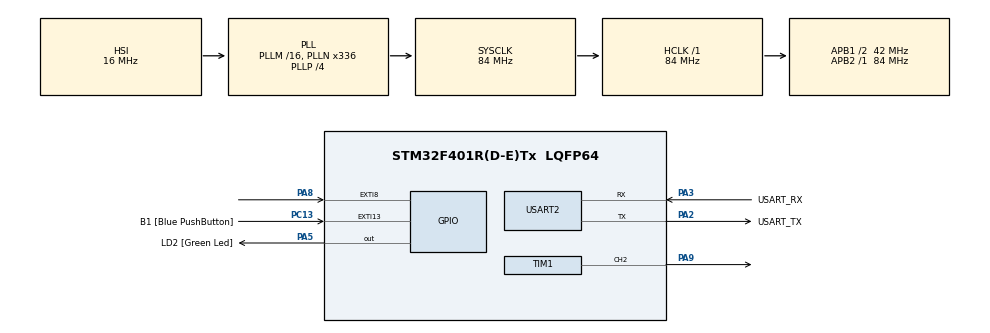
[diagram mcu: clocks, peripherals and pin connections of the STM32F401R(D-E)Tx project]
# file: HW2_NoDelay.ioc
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Mcu.Family=STM32F4
Mcu.Name=STM32F401R(D-E)Tx
Mcu.Package=LQFP64
NVIC.EXTI15_10_IRQn=true\:0\:0\:false\:false\:true\:true\:true\:true
NVIC.EXTI9_5_IRQn=true\:0\:0\:false\:false\:true\:true\:true\:true
NVIC.PriorityGroup=NVIC_PRIORITYGROUP_0
NVIC.TIM2_IRQn=true\:0\:0\:false\:false\:true\:true\:true\:true
PA13.GPIO_Label=TMS
PA13.Mode=Serial_Wire
PA13.Signal=SYS_JTMS-SWDIO
PA14.GPIO_Label=TCK
PA14.Mode=Serial_Wire
PA14.Signal=SYS_JTCK-SWCLK
PA2.GPIO_Label=USART_TX
PA2.GPIO_Mode=GPIO_MODE_AF_PP
PA2.GPIO_PuPd=GPIO_NOPULL
PA2.GPIO_Speed=GPIO_SPEED_FREQ_LOW
PA2.Mode=Asynchronous
PA2.Signal=USART2_TX
PA3.GPIO_Label=USART_RX
PA3.GPIO_Mode=GPIO_MODE_AF_PP
PA3.GPIO_PuPd=GPIO_NOPULL
PA3.GPIO_Speed=GPIO_SPEED_FREQ_LOW
PA3.Mode=Asynchronous
PA3.Signal=USART2_RX
PA5.GPIO_Label=LD2 [Green Led]
PA5.GPIO_Mode=GPIO_MODE_OUTPUT_PP
PA5.GPIO_PuPd=GPIO_NOPULL
PA5.GPIO_Speed=GPIO_SPEED_FREQ_LOW
PA5.Signal=GPIO_Output
PA8.Signal=GPXTI8
PA9.Signal=S_TIM1_CH2
PB3.GPIO_Label=SWO
PB3.Signal=SYS_JTDO-SWO
PC13-ANTI_TAMP.GPIO_Label=B1 [Blue PushButton]
PC13-ANTI_TAMP.GPIO_ModeDefaultEXTI=GPIO_MODE_IT_FALLING
PC13-ANTI_TAMP.GPIO_PuPd=GPIO_NOPULL
PC13-ANTI_TAMP.Signal=GPXTI13
PC14-OSC32_IN.Mode=LSE-External-Oscillator
PC14-OSC32_IN.Signal=RCC_OSC32_IN
PC15-OSC32_OUT.Mode=LSE-External-Oscillator
PC15-OSC32_OUT.Signal=RCC_OSC32_OUT
PH0\ -\ OSC_IN.Mode=HSE-External-Clock-Source
PH0\ -\ OSC_IN.Signal=RCC_OSC_IN
PH1\ -\ OSC_OUT.Mode=HSE-External-Clock-Source
PH1\ -\ OSC_OUT.Signal=RCC_OSC_OUT
ProjectManager.HeapSize=0x200
ProjectManager.StackSize=0x400
ProjectManager.TargetToolchain=STM32CubeIDE
RCC.48MHZClocksFreq_Value=48000000
RCC.AHBFreq_Value=84000000
RCC.APB1CLKDivider=RCC_HCLK_DIV2
RCC.APB1Freq_Value=42000000
RCC.APB1TimFreq_Value=84000000
RCC.APB2Freq_Value=84000000
RCC.APB2TimFreq_Value=84000000
RCC.CortexFreq_Value=84000000
RCC.HCLKFreq_Value=84000000
RCC.HSE_VALUE=8000000
RCC.HSI_VALUE=16000000
RCC.PLLN=336
RCC.PLLP=RCC_PLLP_DIV4
RCC.PLLQ=7
RCC.SYSCLKFreq_VALUE=84000000
RCC.SYSCLKSource=RCC_SYSCLKSOURCE_PLLCLK
RCC.VCOOutputFreq_Value=336000000
SH.S_TIM1_CH2.0=TIM1_CH2,PWM Generation2 CH2
TIM1.Channel-PWM\ Generation2\ CH2=TIM_CHANNEL_2
TIM1.Prescaler=100-1
TIM2.Period=150*8
TIM2.Prescaler=40000-1
TIM2.TIM_MasterOutputTrigger=TIM_TRGO_RESET
USART2.VirtualMode=VM_ASYNC
VP_TIM2_VS_ClockSourceINT.Mode=Internal
board=NUCLEO-F401RE

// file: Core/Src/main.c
/* USER CODE BEGIN Header */
/**
  ******************************************************************************
  * @file           : main.c
  * @brief          : Main program body
  ******************************************************************************
  * @attention
  *
  * Copyright (c) 2022 STMicroelectronics.
  * All rights reserved.
  *
  * This software is licensed under terms that can be found in the LICENSE file
  * in the root directory of this software component.
  * If no LICENSE file comes with this software, it is provided AS-IS.
  *
  ******************************************************************************
  */
/* USER CODE END Header */
#include "main.h"

/* USER CODE BEGIN PTD */
struct note{
		int tone;
		int duration;
	};

/* USER CODE END PTD */

/* USER CODE BEGIN PD */
/*Defining pwm period of notes */
#define _DO4 	3205
#define _DOD4 	3031
#define _RE4 	2856
#define _RED4 	2699
#define _MI4 	2544
#define _FA4 	2404
#define _FAD4	2269
#define _SOL4 	2141
#define _SOLD4	2023
#define _LA4	1908
#define _LAD4 	1801
#define	_SI4 	1699

/*defining division duration*/
#define div 150

/* USER CODE END PD */

TIM_HandleTypeDef htim1;
TIM_HandleTypeDef htim2;

UART_HandleTypeDef huart2;

/* USER CODE BEGIN PV */

	struct note score[] = {
			{_SOL4,6},
			{_LA4, 2},
			{_SOL4,4},
			{_FA4, 4},

			{_MI4, 4},
			{_FA4, 4},
			{_SOL4,8},

			{_RE4, 4},
			{_MI4, 4},
			{_FA4, 8},

			{_MI4, 4},
			{_FA4, 4},
			{_SOL4,8},

			{_SOL4,6},
			{_LA4, 2},
			{_SOL4,4},
			{_FA4, 4},

			{_MI4, 4},
			{_FA4, 4},
			{_SOL4,8},

			{_RE4, 8},
			{_SOL4,8},

			{_MI4, 4},
			{_DO4, 8}

	};

/* USER CODE END PV */

void SystemClock_Config(void);
static void MX_GPIO_Init(void);
static void MX_USART2_UART_Init(void);
static void MX_TIM1_Init(void);
static void MX_TIM2_Init(void);

/* USER CODE BEGIN 0 */

int start_song = 0;
int stop_note = 0;

void playnote(struct note song_playing){
	// Setting TIM1 PWM
		__HAL_TIM_SET_AUTORELOAD(&htim1, song_playing.tone);
		__HAL_TIM_SET_COMPARE(&htim1,TIM_CHANNEL_2, song_playing.tone/2);
		__HAL_TIM_SET_COUNTER(&htim1, 0);

	// Setting TIM2 Time Base
		__HAL_TIM_SET_AUTORELOAD(&htim2, div*song_playing.duration);
		__HAL_TIM_SET_COUNTER(&htim2, 0);
		__HAL_TIM_CLEAR_FLAG(&htim2, TIM_FLAG_UPDATE);

	//Start PWM and timer
		HAL_TIM_Base_Start_IT(&htim2);
		HAL_TIM_PWM_Start(&htim1,TIM_CHANNEL_2);
		stop_note = 1;

	// We will stop the PWM when TIM2 overflows
		while(stop_note == 1){
			;
		}
		HAL_TIM_PWM_Stop(&htim1,TIM_CHANNEL_2);

}

void playsong(){
	int length = sizeof(score)/sizeof(score[0]); /*defining the length of the song */

	for (int i=0; i < lenght ;i++){
			playnote(score[i]);
	}
	start_song = 0;
}

void HAL_GPIO_EXTI_Callback(uint16_t GPIO_Pin){
	switch (GPIO_Pin){
		/*case GPIO_PIN_8:	//microphone
			//start the song when triggered
			start_song = 1;
			break;
			*/
		case GPIO_PIN_13:	//bluebutton for testing
			//start the song when triggered
			start_song = 1;
			break;
		default:
			break;
		}

}

/*
 * Called when the timer overflows
 */
void HAL_TIM_PeriodElapsedCallback(TIM_HandleTypeDef *htim)
{
	HAL_TIM_PWM_Stop(&htim1, TIM_CHANNEL_2);
	HAL_TIM_Base_Stop_IT(&htim2);
	stop_note = 0;
}

/* USER CODE END 0 */

int main(void)
{

  /* MCU Configuration--------------------------------------------------------*/

  /* Reset of all peripherals, Initializes the Flash interface and the Systick. */
  HAL_Init();

  /* Configure the system clock */
  SystemClock_Config();

  /* Initialize all configured peripherals */
  MX_GPIO_Init();
  MX_USART2_UART_Init();
  MX_TIM1_Init();
  MX_TIM2_Init();

  /* Infinite loop */
  /* USER CODE BEGIN WHILE */
  while (1)
  {
	  if(start_song == 1){
	  		  playsong();
	  	  }
    /* USER CODE END WHILE */

  }
}

void SystemClock_Config(void)
{
  RCC_OscInitTypeDef RCC_OscInitStruct = {0};
  RCC_ClkInitTypeDef RCC_ClkInitStruct = {0};

  /** Configure the main internal regulator output voltage
  */
  __HAL_RCC_PWR_CLK_ENABLE();
  __HAL_PWR_VOLTAGESCALING_CONFIG(PWR_REGULATOR_VOLTAGE_SCALE2);

  /** Initializes the RCC Oscillators according to the specified parameters
  * in the RCC_OscInitTypeDef structure.
  */
  RCC_OscInitStruct.OscillatorType = RCC_OSCILLATORTYPE_HSI;
  RCC_OscInitStruct.HSIState = RCC_HSI_ON;
  RCC_OscInitStruct.HSICalibrationValue = RCC_HSICALIBRATION_DEFAULT;
  RCC_OscInitStruct.PLL.PLLState = RCC_PLL_ON;
  RCC_OscInitStruct.PLL.PLLSource = RCC_PLLSOURCE_HSI;
  RCC_OscInitStruct.PLL.PLLM = 16;
  RCC_OscInitStruct.PLL.PLLN = 336;
  RCC_OscInitStruct.PLL.PLLP = RCC_PLLP_DIV4;
  RCC_OscInitStruct.PLL.PLLQ = 7;
  if (HAL_RCC_OscConfig(&RCC_OscInitStruct) != HAL_OK)
  {
    Error_Handler();
  }

  /** Initializes the CPU, AHB and APB buses clocks
  */
  RCC_ClkInitStruct.ClockType = RCC_CLOCKTYPE_HCLK|RCC_CLOCKTYPE_SYSCLK
                              |RCC_CLOCKTYPE_PCLK1|RCC_CLOCKTYPE_PCLK2;
  RCC_ClkInitStruct.SYSCLKSource = RCC_SYSCLKSOURCE_PLLCLK;
  RCC_ClkInitStruct.AHBCLKDivider = RCC_SYSCLK_DIV1;
  RCC_ClkInitStruct.APB1CLKDivider = RCC_HCLK_DIV2;
  RCC_ClkInitStruct.APB2CLKDivider = RCC_HCLK_DIV1;

  if (HAL_RCC_ClockConfig(&RCC_ClkInitStruct, FLASH_LATENCY_2) != HAL_OK)
  {
    Error_Handler();
  }
}

static void MX_TIM1_Init(void)
{

  TIM_MasterConfigTypeDef sMasterConfig = {0};
  TIM_OC_InitTypeDef sConfigOC = {0};
  TIM_BreakDeadTimeConfigTypeDef sBreakDeadTimeConfig = {0};

  htim1.Instance = TIM1;
  htim1.Init.Prescaler = 100-1;
  htim1.Init.CounterMode = TIM_COUNTERMODE_UP;
  htim1.Init.Period = 65535;
  htim1.Init.ClockDivision = TIM_CLOCKDIVISION_DIV1;
  htim1.Init.RepetitionCounter = 0;
  htim1.Init.AutoReloadPreload = TIM_AUTORELOAD_PRELOAD_DISABLE;
  if (HAL_TIM_PWM_Init(&htim1) != HAL_OK)
  {
    Error_Handler();
  }
  sMasterConfig.MasterOutputTrigger = TIM_TRGO_RESET;
  sMasterConfig.MasterSlaveMode = TIM_MASTERSLAVEMODE_DISABLE;
  if (HAL_TIMEx_MasterConfigSynchronization(&htim1, &sMasterConfig) != HAL_OK)
  {
    Error_Handler();
  }
  sConfigOC.OCMode = TIM_OCMODE_PWM1;
  sConfigOC.Pulse = 0;
  sConfigOC.OCPolarity = TIM_OCPOLARITY_HIGH;
  sConfigOC.OCNPolarity = TIM_OCNPOLARITY_HIGH;
  sConfigOC.OCFastMode = TIM_OCFAST_DISABLE;
  sConfigOC.OCIdleState = TIM_OCIDLESTATE_RESET;
  sConfigOC.OCNIdleState = TIM_OCNIDLESTATE_RESET;
  if (HAL_TIM_PWM_ConfigChannel(&htim1, &sConfigOC, TIM_CHANNEL_2) != HAL_OK)
  {
    Error_Handler();
  }
  sBreakDeadTimeConfig.OffStateRunMode = TIM_OSSR_DISABLE;
  sBreakDeadTimeConfig.OffStateIDLEMode = TIM_OSSI_DISABLE;
  sBreakDeadTimeConfig.LockLevel = TIM_LOCKLEVEL_OFF;
  sBreakDeadTimeConfig.DeadTime = 0;
  sBreakDeadTimeConfig.BreakState = TIM_BREAK_DISABLE;
  sBreakDeadTimeConfig.BreakPolarity = TIM_BREAKPOLARITY_HIGH;
  sBreakDeadTimeConfig.AutomaticOutput = TIM_AUTOMATICOUTPUT_DISABLE;
  if (HAL_TIMEx_ConfigBreakDeadTime(&htim1, &sBreakDeadTimeConfig) != HAL_OK)
  {
    Error_Handler();
  }
  HAL_TIM_MspPostInit(&htim1);

}

static void MX_TIM2_Init(void)
{

  TIM_ClockConfigTypeDef sClockSourceConfig = {0};
  TIM_MasterConfigTypeDef sMasterConfig = {0};

  htim2.Instance = TIM2;
  htim2.Init.Prescaler = 40000-1;
  htim2.Init.CounterMode = TIM_COUNTERMODE_UP;
  htim2.Init.Period = 150*8;
  htim2.Init.ClockDivision = TIM_CLOCKDIVISION_DIV1;
  htim2.Init.AutoReloadPreload = TIM_AUTORELOAD_PRELOAD_DISABLE;
  if (HAL_TIM_Base_Init(&htim2) != HAL_OK)
  {
    Error_Handler();
  }
  sClockSourceConfig.ClockSource = TIM_CLOCKSOURCE_INTERNAL;
  if (HAL_TIM_ConfigClockSource(&htim2, &sClockSourceConfig) != HAL_OK)
  {
    Error_Handler();
  }
  sMasterConfig.MasterOutputTrigger = TIM_TRGO_RESET;
  sMasterConfig.MasterSlaveMode = TIM_MASTERSLAVEMODE_DISABLE;
  if (HAL_TIMEx_MasterConfigSynchronization(&htim2, &sMasterConfig) != HAL_OK)
  {
    Error_Handler();
  }

}

static void MX_USART2_UART_Init(void)
{

  huart2.Instance = USART2;
  huart2.Init.BaudRate = 115200;
  huart2.Init.WordLength = UART_WORDLENGTH_8B;
  huart2.Init.StopBits = UART_STOPBITS_1;
  huart2.Init.Parity = UART_PARITY_NONE;
  huart2.Init.Mode = UART_MODE_TX_RX;
  huart2.Init.HwFlowCtl = UART_HWCONTROL_NONE;
  huart2.Init.OverSampling = UART_OVERSAMPLING_16;
  if (HAL_UART_Init(&huart2) != HAL_OK)
  {
    Error_Handler();
  }

}

static void MX_GPIO_Init(void)
{
  GPIO_InitTypeDef GPIO_InitStruct = {0};

  /* GPIO Ports Clock Enable */
  __HAL_RCC_GPIOC_CLK_ENABLE();
  __HAL_RCC_GPIOH_CLK_ENABLE();
  __HAL_RCC_GPIOA_CLK_ENABLE();
  __HAL_RCC_GPIOB_CLK_ENABLE();

  /*Configure GPIO pin Output Level */
  HAL_GPIO_WritePin(LD2_GPIO_Port, LD2_Pin, GPIO_PIN_RESET);

  /*Configure GPIO pin : B1_Pin */
  GPIO_InitStruct.Pin = B1_Pin;
  GPIO_InitStruct.Mode = GPIO_MODE_IT_FALLING;
  GPIO_InitStruct.Pull = GPIO_NOPULL;
  HAL_GPIO_Init(B1_GPIO_Port, &GPIO_InitStruct);

  /*Configure GPIO pin : LD2_Pin */
  GPIO_InitStruct.Pin = LD2_Pin;
  GPIO_InitStruct.Mode = GPIO_MODE_OUTPUT_PP;
  GPIO_InitStruct.Pull = GPIO_NOPULL;
  GPIO_InitStruct.Speed = GPIO_SPEED_FREQ_LOW;
  HAL_GPIO_Init(LD2_GPIO_Port, &GPIO_InitStruct);

  /*Configure GPIO pin : PA8 */
  GPIO_InitStruct.Pin = GPIO_PIN_8;
  GPIO_InitStruct.Mode = GPIO_MODE_IT_RISING;
  GPIO_InitStruct.Pull = GPIO_NOPULL;
  HAL_GPIO_Init(GPIOA, &GPIO_InitStruct);

  /* EXTI interrupt init*/
  HAL_NVIC_SetPriority(EXTI9_5_IRQn, 0, 0);
  HAL_NVIC_EnableIRQ(EXTI9_5_IRQn);

  HAL_NVIC_SetPriority(EXTI15_10_IRQn, 0, 0);
  HAL_NVIC_EnableIRQ(EXTI15_10_IRQn);

}

void Error_Handler(void)
{
  __disable_irq();
  while (1)
  {
  }
}
